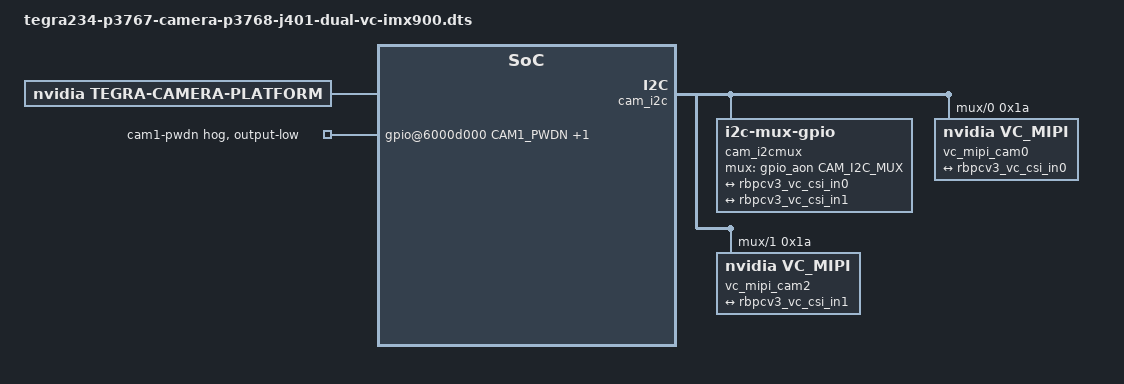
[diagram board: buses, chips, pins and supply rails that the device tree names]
// SPDX-License-Identifier: GPL-2.0-only
// SPDX-FileCopyrightText: Copyright (c) 2023-2024, NVIDIA CORPORATION & AFFILIATES. All rights reserved.

/dts-v1/;
/plugin/;

#define CAM0_PWDN	TEGRA234_MAIN_GPIO(H, 6)
#define CAM1_PWDN	TEGRA234_MAIN_GPIO(AC, 0)
#define CAM_I2C_MUX 	TEGRA234_AON_GPIO(CC, 3)

#include <dt-bindings/tegra234-p3767-0000-common.h>

/ {
	overlay-name = "Camera Dual VC on Seeed CAM0 and CAM2" ;
	jetson-header-name = "Jetson 22pin CSI Connector";
	compatible = JETSON_COMPATIBLE_P3768;

	fragment@0 {
		target-path = "/";
		__overlay__ {
			tegra-capture-vi  {
				num-channels = <2>;
				ports {
					#address-cells = <1>;
					#size-cells = <0>;
					port@0 {
						reg = <0>;
						rbpcv3_vc_vi_in0: endpoint {
							port-index = <0>;
							bus-width = <2>;
							remote-endpoint = <&rbpcv3_vc_csi_out0>;
						};
					};
					port@1 {
						reg = <1>;
						rbpcv3_vc_vi_in1: endpoint {
							port-index = <2>;
							bus-width = <2>;
							remote-endpoint = <&rbpcv3_vc_csi_out1>;
						};
					};
				};
			};
			tegra-camera-platform {
				compatible = "nvidia, tegra-camera-platform";
				/**
				* Physical settings to calculate max ISO BW
				*
				* num_csi_lanes = <>;
				* Total number of CSI lanes when all cameras are active
				*
				* max_lane_speed = <>;
				* Max lane speed in Kbit/s
				*
				* min_bits_per_pixel = <>;
				* Min bits per pixel
				*
				* vi_peak_byte_per_pixel = <>;
				* Max byte per pixel for the VI ISO case
				*
				* vi_bw_margin_pct = <>;
				* Vi bandwidth margin in percentage
				*
				* max_pixel_rate = <>;
				* Max pixel rate in Kpixel/s for the ISP ISO case
				*
				* isp_peak_byte_per_pixel = <>;
				* Max byte per pixel for the ISP ISO case
				*
				* isp_bw_margin_pct = <>;
				* Isp bandwidth margin in percentage
				*/
				num_csi_lanes = <4>;
				max_lane_speed = <1500000>;
				min_bits_per_pixel = <10>;
				vi_peak_byte_per_pixel = <2>;
				vi_bw_margin_pct = <25>;
				max_pixel_rate = <7500000>;
				isp_peak_byte_per_pixel = <5>;
				isp_bw_margin_pct = <25>;
				/**
				 * The general guideline for naming badge_info contains 3 parts, and is as follows,
				 * The first part is the camera_board_id for the module; if the module is in a FFD
				 * platform, then use the platform name for this part.
				 * The second part contains the position of the module, ex. "rear" or "front".
				 * The third part contains the last 6 characters of a part number which is found
				 * in the module's specsheet from the vendor.
				 */
				modules {
					module0 {
						badge = "imx900_cam0";
						position = "front";
						orientation = "1";
						drivernode0 {
							pcl_id = "v4l2_sensor";
							sysfs-device-tree = "/sys/firmware/devicetree/base/bus@0/cam_i2cmux/i2c@0/vc_mipi@1a";
						};
					};
					module1 {
						badge = "imx900_cam2";
						position = "rear";
						orientation = "1";
						drivernode0 {
							pcl_id = "v4l2_sensor";
							sysfs-device-tree = "/sys/firmware/devicetree/base/bus@0/cam_i2cmux/i2c@1/vc_mipi@1a";
						};
					};
				};
			};
			bus@0 {
				host1x@13e00000 {
					nvcsi@15a00000 {
						num-channels = <2>;
						#address-cells = <1>;
						#size-cells = <0>;
						channel@0 {
							reg = <0>;
							ports {
								#address-cells = <1>;
								#size-cells = <0>;
								port@0 {
									reg = <0>;
									rbpcv3_vc_csi_in0: endpoint@0 {
										port-index = <0>;
										bus-width = <2>;
										remote-endpoint = <&rbpcv3_vc_out0>;
									};
								};
								port@1 {
									reg = <1>;
									rbpcv3_vc_csi_out0: endpoint@1 {
										remote-endpoint = <&rbpcv3_vc_vi_in0>;
									};
								};
							};
						};
						channel@1 {
							reg = <1>;
							ports {
								#address-cells = <1>;
								#size-cells = <0>;
								port@0 {
									reg = <0>;
									rbpcv3_vc_csi_in1: endpoint@2 {
										port-index = <2>;
										bus-width = <2>;
										remote-endpoint = <&rbpcv3_vc_out1>;
									};
								};
								port@1 {
									reg = <1>;
									rbpcv3_vc_csi_out1: endpoint@3 {
										remote-endpoint = <&rbpcv3_vc_vi_in1>;
									};
								};
							};
						};
					};
				};
				cam_i2cmux {
					status = "okay";
					compatible = "i2c-mux-gpio";
					#address-cells = <1>;
					#size-cells = <0>;
					mux-gpios = <&gpio_aon CAM_I2C_MUX GPIO_ACTIVE_HIGH>;
					i2c-parent = <&cam_i2c>;
					i2c@0 {
						status = "okay";
						reg = <0>;
						#address-cells = <1>;
						#size-cells = <0>;
						rbpcv2_imx219_a@10 {
							status = "disabled";
						};

						rbpcv2_imx477_a@1a {
							status = "disabled";
						};

						vc_mipi_cam0: vc_mipi@1a {

							reg                     = <0x1a>;

							// Previous systems haven't used this
							//reset-gpios = <&gpio CAM0_PWDN GPIO_ACTIVE_HIGH>;

							compatible              = "nvidia,vc_mipi";
							devnode                 = "video0";
							use_sensor_mode_id      = "false";
							sensor_model            = "vc_mipi";

							num_lanes               = "2";
							trigger_mode            = "0";
							io_mode                 = "0";

							// ----------------------------------------------------
							// If you want to use GStreamer with nvarguscamerasrc
							// you have to adjust this settings
							physical_w              = "4.968";
							physical_h              = "3.726";
							// ----------------------------------------------------
							// This node is needed by the Tegra framework.
							// You don't have to change any settings if just want 
							// to use the V4L API.
							mode0 {
									num_lanes                = "2";
									tegra_sinterface         = "serial_a";
									embedded_metadata_height = "1";
									readout_orientation      = "0";
									lane_polarity            = "6";

									// ----------------------------------------------------
									// If you want to use GStreamer with nvarguscamerasrc
									// you have to adjust this settings. 
									active_l                 = "0";
									active_t                 = "0";
									active_w                 = "2048";
									active_h                 = "1536";
									mode_type                = "bayer";
									pixel_phase              = "rggb";
									csi_pixel_bit_depth      = "10";

									min_gain_val             = "0";         // mdB
									max_gain_val             = "48000";     // mdB
									step_gain_val            = "100";       // mdB
									default_gain             = "0";         // mdB

									min_exp_time             = "1";         // us
									max_exp_time             = "1000000";   // us
									step_exp_time            = "1";         // us
									default_exp_time         = "10000";     // us

									// For applications like argus_camera, there should 
									// be a minimal frame rate greater than zero!
									min_framerate            = "100";       // mHz
									max_framerate            = "60300";     // mHz
									step_framerate           = "100";       // mHz
									default_framerate        = "60300";     // mHz
									// ----------------------------------------------------

									gain_factor              = "1000";
									exposure_factor          = "1000000";
									framerate_factor         = "1000";
									inherent_gain            = "1";
									min_hdr_ratio            = "1";
									max_hdr_ratio            = "1";

									line_length              = "0";
									phy_mode                 = "DPHY";
									discontinuous_clk        = "no";
									mclk_khz                 = "24000";
									pix_clk_hz               = "300000000";
									mclk_multiplier          = "0.0";		// deprecated
									cil_settletime           = "0";
									dpcm_enable              = "false";

									set_mode_delay_ms        = "100000";
							};


							ports {
								#address-cells = <1>;
								#size-cells = <0>;
								port@0 {
									reg = <0>;
									rbpcv3_vc_out0: endpoint {
										status = "okay";
										port-index = <0>;
										bus-width = <2>;
										remote-endpoint = <&rbpcv3_vc_csi_in0>;
									};
								};
							};
						};
					};
					i2c@1 {
						status = "okay";
						reg = <1>;
						#address-cells = <1>;
						#size-cells = <0>;

						rbpcv2_imx219_c@10 {
							status = "disabled";
						};

						rbpcv3_imx477_c@1a {
							status = "disabled";
						};


						vc_mipi_cam2: rbpcv3_vc_c@1a {
							reg                     = <0x1a>;

							compatible              = "nvidia,vc_mipi";
							devnode                 = "video2";
							use_sensor_mode_id      = "false";
							sensor_model            = "vc_mipi";

							// Have not set this previously
							//reset-gpios = <&gpio CAM1_PWDN GPIO_ACTIVE_HIGH>;

							num_lanes               = "2";
							trigger_mode            = "0";
							io_mode                 = "0";

							// ----------------------------------------------------
							// If you want to use GStreamer with nvarguscamerasrc
							// you have to adjust this settings
							physical_w              = "4.968";
							physical_h              = "3.726";
							// ----------------------------------------------------
							// This node is needed by the Tegra framework.
							// You don't have to change any settings if just want 
							// to use the V4L API.
							mode0 {
									num_lanes                = "2";
									tegra_sinterface         = "serial_c";
									embedded_metadata_height = "1";
									readout_orientation      = "0";
									lane_polarity            = "6";

									// ----------------------------------------------------
									// If you want to use GStreamer with nvarguscamerasrc
									// you have to adjust this settings. 
									active_l                 = "0";
									active_t                 = "0";
									active_w                 = "2048";
									active_h                 = "1536";
									mode_type                = "bayer";
									pixel_phase              = "rggb";
									csi_pixel_bit_depth      = "10";

									min_gain_val             = "0";         // mdB
									max_gain_val             = "48000";     // mdB
									step_gain_val            = "100";       // mdB
									default_gain             = "0";         // mdB

									min_exp_time             = "1";         // us
									max_exp_time             = "1000000";   // us
									step_exp_time            = "1";         // us
									default_exp_time         = "10000";     // us

									// For applications like argus_camera, there should 
									// be a minimal frame rate greater than zero!
									min_framerate            = "100";       // mHz
									max_framerate            = "60300";     // mHz
									step_framerate           = "100";       // mHz
									default_framerate        = "60300";     // mHz
									// ----------------------------------------------------

									gain_factor              = "1000";
									exposure_factor          = "1000000";
									framerate_factor         = "1000";
									inherent_gain            = "1";
									min_hdr_ratio            = "1";
									max_hdr_ratio            = "1";

									line_length              = "0";
									phy_mode                 = "DPHY";
									discontinuous_clk        = "no";
									mclk_khz                 = "24000";
									pix_clk_hz               = "300000000";
									mclk_multiplier          = "0.0";		// deprecated
									cil_settletime           = "0";
									dpcm_enable              = "false";

									set_mode_delay_ms        = "100000";
							};


							ports {
								#address-cells = <1>;
								#size-cells = <0>;
								port@0 {
									reg = <0>;
									rbpcv3_vc_out1: endpoint {
										status = "okay";
										port-index = <2>;
										bus-width = <2>;
										remote-endpoint = <&rbpcv3_vc_csi_in1>;
									};
								};
							};
						};
					};
				};

				gpio@6000d000 {
					camera-control-output-low {
						gpio-hog;
						output-low;
						gpios = <CAM1_PWDN 0  CAM0_PWDN 0>;
						label = "cam1-pwdn", "cam0-pwdn";
					};
				};
			};
		};
	};
};
